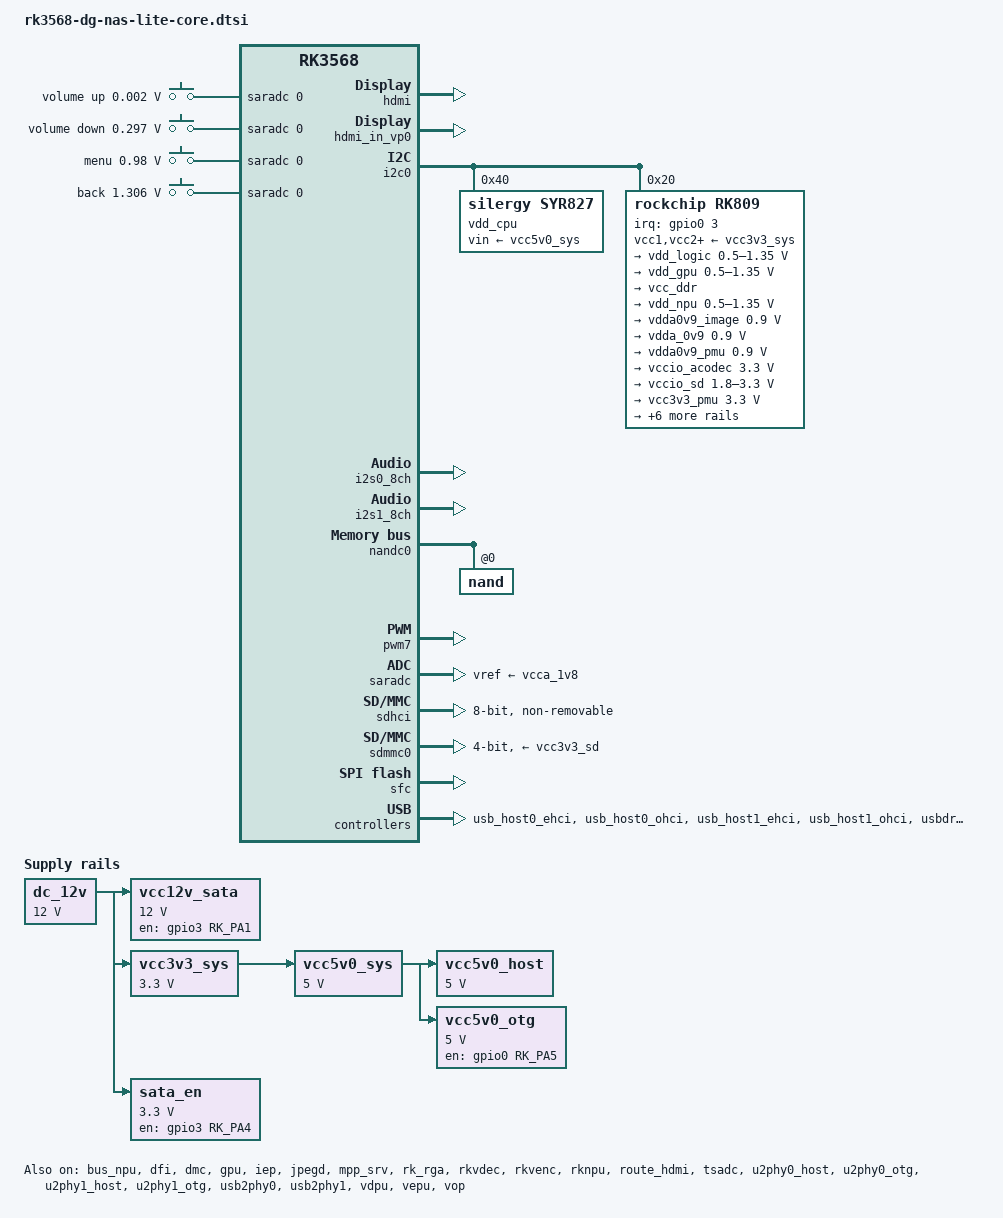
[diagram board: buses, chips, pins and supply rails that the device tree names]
// SPDX-License-Identifier: (GPL-2.0+ OR MIT)
/*
 * Copyright (c) 2020 Rockchip Electronics Co., Ltd.
 *
 */

#include <dt-bindings/gpio/gpio.h>
#include <dt-bindings/pwm/pwm.h>
#include <dt-bindings/pinctrl/rockchip.h>
#include <dt-bindings/input/rk-input.h>
#include <dt-bindings/display/drm_mipi_dsi.h>
#include <dt-bindings/sensor-dev.h>

/ {
	adc_keys: adc-keys {
		compatible = "adc-keys";
		io-channels = <&saradc 0>;
		io-channel-names = "buttons";
		keyup-threshold-microvolt = <1800000>;
		poll-interval = <100>;

		vol-up-key {
			label = "volume up";
			linux,code = <KEY_VOLUMEUP>;
			press-threshold-microvolt = <1750>;
		};

		vol-down-key {
			label = "volume down";
			linux,code = <KEY_VOLUMEDOWN>;
			press-threshold-microvolt = <297500>;
		};

		menu-key {
			label = "menu";
			linux,code = <KEY_MENU>;
			press-threshold-microvolt = <980000>;
		};

		back-key {
			label = "back";
			linux,code = <KEY_BACK>;
			press-threshold-microvolt = <1305500>;
		};
	};

	audiopwmout_diff: audiopwmout-diff {
		status = "disabled";
		compatible = "simple-audio-card";
		simple-audio-card,format = "i2s";
		simple-audio-card,name = "rockchip,audiopwmout-diff";
		simple-audio-card,mclk-fs = <256>;
		simple-audio-card,bitclock-master = <&master>;
		simple-audio-card,frame-master = <&master>;
		simple-audio-card,cpu {
			sound-dai = <&i2s3_2ch>;
		};
		master: simple-audio-card,codec {
			sound-dai = <&dig_acodec>;
		};
	};

	dc_12v: dc-12v {
		compatible = "regulator-fixed";
		regulator-name = "dc_12v";
		regulator-always-on;
		regulator-boot-on;
		regulator-min-microvolt = <12000000>;
		regulator-max-microvolt = <12000000>;
	};

	hdmi_sound: hdmi-sound {
		status = "disabled";
		compatible = "rockchip,hdmi";
		rockchip,mclk-fs = <128>;
		rockchip,card-name = "rockchip,hdmi";
		rockchip,cpu = <&i2s0_8ch>;
		rockchip,codec = <&hdmi>;
	};

	vcc12v_sata: vcc12v-sata {
		compatible = "regulator-fixed";
		regulator-name = "vcc12v_sata";
		regulator-always-on;
		regulator-boot-on;
		regulator-min-microvolt = <12000000>;
		regulator-max-microvolt = <12000000>;
		enable-active-high;
		gpio = <&gpio3 RK_PA1 GPIO_ACTIVE_HIGH>;
		pinctrl-names = "default";
		pinctrl-0 = <&vcc12V_sata_enable_h>;
		vin-supply = <&dc_12v>;
	};	

	pdmics: dummy-codec {
		status = "disabled";
		compatible = "rockchip,dummy-codec";
		#sound-dai-cells = <0>;
	};

	pdm_mic_array: pdm-mic-array {
		status = "disabled";
		compatible = "simple-audio-card";
		simple-audio-card,name = "rockchip,pdm-mic-array";
		simple-audio-card,cpu {
			sound-dai = <&pdm>;
		};
		simple-audio-card,codec {
			sound-dai = <&pdmics>;
		};
	};

	rk809_sound: rk809-sound {
		status = "okay";
		compatible = "simple-audio-card";
		simple-audio-card,format = "i2s";
		simple-audio-card,name = "rockchip,rk809-codec";
		simple-audio-card,mclk-fs = <256>;

		simple-audio-card,cpu {
			sound-dai = <&i2s1_8ch>;
		};
		simple-audio-card,codec {
			sound-dai = <&rk809_codec>;
		};
	};

	spdif-sound {
		status = "disabled";
		compatible = "simple-audio-card";
		simple-audio-card,name = "ROCKCHIP,SPDIF";
		simple-audio-card,cpu {
				sound-dai = <&spdif_8ch>;
		};
		simple-audio-card,codec {
				sound-dai = <&spdif_out>;
		};
	};

	spdif_out: spdif-out {
			status = "disabled";
			compatible = "linux,spdif-dit";
			#sound-dai-cells = <0>;
	};

	vad_sound: vad-sound {
		status = "disabled";
		compatible = "rockchip,multicodecs-card";
		rockchip,card-name = "rockchip,rk3568-vad";
		rockchip,cpu = <&i2s1_8ch>;
		rockchip,codec = <&rk809_codec>, <&vad>;
	};

	vcc3v3_sys: vcc3v3-sys {
		compatible = "regulator-fixed";
		regulator-name = "vcc3v3_sys";
		regulator-always-on;
		regulator-boot-on;
		regulator-min-microvolt = <3300000>;
		regulator-max-microvolt = <3300000>;
		vin-supply = <&dc_12v>;
	};
	
	sata_en: sata_en {
		compatible = "regulator-fixed";
		regulator-name = "sata_en";
		regulator-always-on;
		regulator-boot-on;
		regulator-min-microvolt = <3300000>;
		regulator-max-microvolt = <3300000>;
		enable-active-high;
		gpio = <&gpio3 RK_PA4 GPIO_ACTIVE_HIGH>;
		pinctrl-names = "default";
		pinctrl-0 = <&asm1064_rst>;
		vin-supply = <&dc_12v>;
	};

	vcc5v0_sys: vcc5v0-sys {
		compatible = "regulator-fixed";
		regulator-name = "vcc5v0_sys";
		regulator-always-on;
		regulator-boot-on;
		regulator-min-microvolt = <5000000>;
		regulator-max-microvolt = <5000000>;
		vin-supply = <&vcc3v3_sys>;
	};
/*
	vcc5v0_usb: vcc5v0-usb {
		compatible = "regulator-fixed";
		regulator-name = "vcc5v0_usb";
		regulator-always-on;
		regulator-boot-on;
		regulator-min-microvolt = <5000000>;
		regulator-max-microvolt = <5000000>;
		vin-supply = <&dc_12v>;
	};
*/
	vcc5v0_host: vcc5v0-host-regulator {
		compatible = "regulator-fixed";
		regulator-name = "vcc5v0_host";
		regulator-boot-on;
		regulator-always-on;
		regulator-min-microvolt = <5000000>;
		regulator-max-microvolt = <5000000>;
//		enable-active-high;
//		gpio = <&gpio0 RK_PD4 GPIO_ACTIVE_HIGH>;
		vin-supply = <&vcc5v0_sys>;
//		pinctrl-names = "default";
//		pinctrl-0 = <&vcc5v0_host_en>;
	};

	vcc5v0_otg: vcc5v0-otg-regulator {
		compatible = "regulator-fixed";
		regulator-name = "vcc5v0_otg";
		regulator-boot-on;
		regulator-always-on;
		regulator-min-microvolt = <5000000>;
		regulator-max-microvolt = <5000000>;
		enable-active-high;
		gpio = <&gpio0 RK_PA5 GPIO_ACTIVE_HIGH>;
		vin-supply = <&vcc5v0_sys>;
		pinctrl-names = "default";
		pinctrl-0 = <&vcc5v0_otg_en>;
	};

	test-power {
		status = "okay";
	};
};

&bus_npu {
	bus-supply = <&vdd_logic>;
	pvtm-supply = <&vdd_cpu>;
	status = "okay";
};

&can0 {
	assigned-clocks = <&cru CLK_CAN0>;
	assigned-clock-rates = <150000000>;
	pinctrl-names = "default";
	pinctrl-0 = <&can0m1_pins>;
	status = "disabled";
};

&can1 {
	assigned-clocks = <&cru CLK_CAN1>;
	assigned-clock-rates = <150000000>;
	pinctrl-names = "default";
	pinctrl-0 = <&can1m1_pins>;
	status = "disabled";
};

&can2 {
	assigned-clocks = <&cru CLK_CAN2>;
	assigned-clock-rates = <150000000>;
	pinctrl-names = "default";
	pinctrl-0 = <&can2m1_pins>;
	status = "disabled";
};

&cpu0 {
	cpu-supply = <&vdd_cpu>;
};

&cpu1 {
	cpu-supply = <&vdd_cpu>;
};

&cpu2 {
	cpu-supply = <&vdd_cpu>;
};

&cpu3 {
	cpu-supply = <&vdd_cpu>;
};

&dfi {
	status = "okay";
};

&dmc {
	center-supply = <&vdd_logic>;
	status = "okay";

	system-status-level = <
		/*system status         freq level*/
		SYS_STATUS_NORMAL      DMC_FREQ_LEVEL_MID_HIGH 
	>;
	
	auto-freq-en = <0>;

};

&gpu {
	mali-supply = <&vdd_gpu>;
	status = "okay";
};

&hdmi {
	status = "okay";
	avdd-0v9-supply = <&vdda0v9_image>;
	avdd-1v8-supply = <&vcca1v8_image>;	
	rockchip,phy-table =
		<92812500  0x8009 0x0000 0x0270>,
		<165000000 0x800b 0x0000 0x026d>,
		<185625000 0x800b 0x0000 0x01ed>,
		<297000000 0x800b 0x0000 0x01ad>,
		<594000000 0x8029 0x0000 0x0088>,
		<000000000 0x0000 0x0000 0x0000>;
};

&hdmi_in_vp0 {
	status = "okay";
};

&hdmi_in_vp1 {
	status = "disabled";
};

&hdmi_sound {
	status = "okay";
};

&i2c0 {
	status = "okay";


	vdd_cpu: syr827@40 {
		compatible = "silergy,syr827";
		reg = <0x40>;
		vin-supply = <&vcc5v0_sys>;
		regulator-compatible = "fan53555-reg";
		pinctrl-names = "default";
		//pinctrl-0 = <&vsel1_gpios>;
		//vsel-gpios = <&gpio0 RK_PA2 GPIO_ACTIVE_HIGH>;
		regulator-name = "vdd_cpu";
		regulator-min-microvolt = <712500>;
		regulator-max-microvolt = <1390000>;
		regulator-init-microvolt = <900000>;
		regulator-ramp-delay = <2300>;
		fcs,suspend-voltage-selector = <1>;
		regulator-always-on;
		regulator-boot-on;
		regulator-initial-state = <3>;
			regulator-state-mem {
			regulator-off-in-suspend;
		};
	};


	rk809: pmic@20 {
		compatible = "rockchip,rk809";
		reg = <0x20>;
		interrupt-parent = <&gpio0>;
		interrupts = <3 IRQ_TYPE_LEVEL_LOW>;

		pinctrl-names = "default", "pmic-sleep",
				"pmic-power-off", "pmic-reset";
		pinctrl-0 = <&pmic_int>;
		pinctrl-1 = <&soc_slppin_slp>, <&rk817_slppin_slp>;
		pinctrl-2 = <&soc_slppin_gpio>, <&rk817_slppin_pwrdn>;
		pinctrl-3 = <&soc_slppin_gpio>, <&rk817_slppin_rst>;

		rockchip,system-power-controller;
		wakeup-source;
		#clock-cells = <1>;
		clock-output-names = "rk808-clkout1", "rk808-clkout2";
		//fb-inner-reg-idxs = <2>;
		/* 1: rst regs (default in codes), 0: rst the pmic */
		pmic-reset-func = <0>;
		/* not save the PMIC_POWER_EN register in uboot */
		not-save-power-en = <1>;

		vcc1-supply = <&vcc3v3_sys>;
		vcc2-supply = <&vcc3v3_sys>;
		vcc3-supply = <&vcc3v3_sys>;
		vcc4-supply = <&vcc3v3_sys>;
		vcc5-supply = <&vcc3v3_sys>;
		vcc6-supply = <&vcc3v3_sys>;
		vcc7-supply = <&vcc3v3_sys>;
		vcc8-supply = <&vcc3v3_sys>;
		vcc9-supply = <&vcc3v3_sys>;

		pwrkey {
			status = "okay";
		};

		pinctrl_rk8xx: pinctrl_rk8xx {
			gpio-controller;
			#gpio-cells = <2>;

			rk817_slppin_null: rk817_slppin_null {
				pins = "gpio_slp";
				function = "pin_fun0";
			};

			rk817_slppin_slp: rk817_slppin_slp {
				pins = "gpio_slp";
				function = "pin_fun1";
			};

			rk817_slppin_pwrdn: rk817_slppin_pwrdn {
				pins = "gpio_slp";
				function = "pin_fun2";
			};

			rk817_slppin_rst: rk817_slppin_rst {
				pins = "gpio_slp";
				function = "pin_fun3";
			};
		};

		regulators {
			vdd_logic: DCDC_REG1 {
				regulator-always-on;
				regulator-boot-on;
				regulator-min-microvolt = <500000>;
				regulator-max-microvolt = <1350000>;
				regulator-init-microvolt = <900000>;
				regulator-ramp-delay = <6001>;
				regulator-initial-mode = <0x2>;
				regulator-name = "vdd_logic";
				regulator-state-mem {
					regulator-off-in-suspend;
				};
			};

			vdd_gpu: DCDC_REG2 {
				regulator-always-on;
				regulator-boot-on;
				regulator-min-microvolt = <500000>;
				regulator-max-microvolt = <1350000>;
				regulator-init-microvolt = <900000>;
				regulator-ramp-delay = <6001>;
				regulator-initial-mode = <0x2>;
				regulator-name = "vdd_gpu";
				regulator-state-mem {
					regulator-off-in-suspend;
				};
			};

			vcc_ddr: DCDC_REG3 {
				regulator-always-on;
				regulator-boot-on;
				regulator-initial-mode = <0x2>;
				regulator-name = "vcc_ddr";
				regulator-state-mem {
					regulator-on-in-suspend;
				};
			};

			vdd_npu: DCDC_REG4 {
				regulator-always-on;
				regulator-boot-on;
				regulator-min-microvolt = <500000>;
				regulator-max-microvolt = <1350000>;
				regulator-init-microvolt = <900000>;
				regulator-ramp-delay = <6001>;
				regulator-initial-mode = <0x2>;
				regulator-name = "vdd_npu";
				regulator-state-mem {
					regulator-off-in-suspend;
				};
			};

			vdda0v9_image: LDO_REG1 {
				regulator-boot-on;
				regulator-always-on;
				regulator-min-microvolt = <900000>;
				regulator-max-microvolt = <900000>;
				regulator-name = "vdda0v9_image";
				regulator-state-mem {
					regulator-off-in-suspend;
				};
			};

			vdda_0v9: LDO_REG2 {
				regulator-always-on;
				regulator-boot-on;
				regulator-min-microvolt = <900000>;
				regulator-max-microvolt = <900000>;
				regulator-name = "vdda_0v9";
				regulator-state-mem {
					regulator-off-in-suspend;
				};
			};

			vdda0v9_pmu: LDO_REG3 {
				regulator-always-on;
				regulator-boot-on;
				regulator-min-microvolt = <900000>;
				regulator-max-microvolt = <900000>;
				regulator-name = "vdda0v9_pmu";
				regulator-state-mem {
					regulator-on-in-suspend;
					regulator-suspend-microvolt = <900000>;
				};
			};

			vccio_acodec: LDO_REG4 {
				regulator-always-on;
				regulator-boot-on;
				regulator-min-microvolt = <3300000>;
				regulator-max-microvolt = <3300000>;
				regulator-name = "vccio_acodec";
				regulator-state-mem {
					regulator-off-in-suspend;
				};
			};

			vccio_sd: LDO_REG5 {
				regulator-always-on;
				regulator-boot-on;
				regulator-min-microvolt = <1800000>;
				regulator-max-microvolt = <3300000>;
				regulator-name = "vccio_sd";
				regulator-state-mem {
					regulator-off-in-suspend;
				};
			};

			vcc3v3_pmu: LDO_REG6 {
				regulator-always-on;
				regulator-boot-on;
				regulator-min-microvolt = <3300000>;
				regulator-max-microvolt = <3300000>;
				regulator-name = "vcc3v3_pmu";
				regulator-state-mem {
					regulator-on-in-suspend;
					regulator-suspend-microvolt = <3300000>;
				};
			};

			vcca_1v8: LDO_REG7 {
				regulator-always-on;
				regulator-boot-on;
				regulator-min-microvolt = <1800000>;
				regulator-max-microvolt = <1800000>;
				regulator-name = "vcca_1v8";
				regulator-state-mem {
					regulator-off-in-suspend;
				};
			};

			vcca1v8_pmu: LDO_REG8 {
				regulator-always-on;
				regulator-boot-on;
				regulator-min-microvolt = <1800000>;
				regulator-max-microvolt = <1800000>;
				regulator-name = "vcca1v8_pmu";
				regulator-state-mem {
					regulator-on-in-suspend;
					regulator-suspend-microvolt = <1800000>;
				};
			};

			vcca1v8_image: LDO_REG9 {
				regulator-always-on;
				regulator-boot-on;
				regulator-min-microvolt = <1800000>;
				regulator-max-microvolt = <1800000>;
				regulator-name = "vcca1v8_image";
				regulator-state-mem {
					regulator-off-in-suspend;
				};
			};

			vcc_1v8: DCDC_REG5 {
				regulator-always-on;
				regulator-boot-on;
				regulator-min-microvolt = <1800000>;
				regulator-max-microvolt = <1800000>;
				regulator-name = "vcc_1v8";
				regulator-state-mem {
					regulator-off-in-suspend;
				};
			};

			vcc_3v3: SWITCH_REG1 {
				regulator-always-on;
				regulator-boot-on;
				regulator-name = "vcc_3v3";
				regulator-state-mem {
					regulator-off-in-suspend;
				};
			};

			vcc3v3_sd: SWITCH_REG2 {
				regulator-always-on;
				regulator-boot-on;
				regulator-name = "vcc3v3_sd";
				regulator-state-mem {
					regulator-off-in-suspend;
				};
			};
		};

		rk809_codec: codec {
			#sound-dai-cells = <0>;
			compatible = "rockchip,rk809-codec", "rockchip,rk817-codec";
			clocks = <&cru I2S1_MCLKOUT>;
			clock-names = "mclk";
			assigned-clocks = <&cru I2S1_MCLKOUT>, <&cru I2S1_MCLK_TX_IOE>;
			assigned-clock-rates = <12288000>;
			assigned-clock-parents = <&cru I2S1_MCLKOUT_TX>, <&cru I2S1_MCLKOUT_TX>;
			pinctrl-names = "default";
			pinctrl-0 = <&i2s1m0_mclk>;
			hp-volume = <20>;
			spk-volume = <3>;
			mic-in-differential;
			status = "okay";
		};
	};
};

&i2s0_8ch {
	status = "okay";
};

&i2s1_8ch {
	status = "okay";
	rockchip,clk-trcm = <1>;
	pinctrl-names = "default";
	pinctrl-0 = <&i2s1m0_sclktx
		     &i2s1m0_lrcktx
		     &i2s1m0_sdi0
		     &i2s1m0_sdo0>;
};

&iep {
	status = "okay";
};

&iep_mmu {
	status = "okay";
};

&jpegd {
	status = "okay";
};

&jpegd_mmu {
	status = "okay";
};

&mpp_srv {
	status = "okay";
};

&nandc0 {
	#address-cells = <1>;
	#size-cells = <0>;
	status = "okay";

	nand@0 {
		reg = <0>;
		nand-bus-width = <8>;
		nand-ecc-mode = "hw";
		nand-ecc-strength = <16>;
		nand-ecc-step-size = <1024>;
	};
};

&pinctrl {
	pmic {
		pmic_int: pmic_int {
			rockchip,pins =
				<0 RK_PA3 RK_FUNC_GPIO &pcfg_pull_up>;
		};

		soc_slppin_gpio: soc_slppin_gpio {
			rockchip,pins =
				<0 RK_PA2 RK_FUNC_GPIO &pcfg_output_low_pull_down>;
		};

		soc_slppin_slp: soc_slppin_slp {
			rockchip,pins =
				<0 RK_PA2 1 &pcfg_pull_up>;
		};

		soc_slppin_rst: soc_slppin_rst {
			rockchip,pins =
				<0 RK_PA2 2 &pcfg_pull_none>;
		};
	};

	usb {
		vcc5v0_otg_en: vcc5v0-otg-en {
			rockchip,pins = <0 RK_PA5 RK_FUNC_GPIO &pcfg_pull_none>;
		};
	};
	
	sata {
		vcc12V_sata_enable_h: vcc12V_sata_enable_h {
			rockchip,pins = <3 RK_PA1 RK_FUNC_GPIO &pcfg_pull_none>;
		};
		asm1064_rst: asm1064_rst {
			rockchip,pins = <3 RK_PA4 RK_FUNC_GPIO &pcfg_pull_none>;
		};
	};	
	

};

 /*
  * There are 10 independent IO domains in RK3566/RK3568, including PMUIO[0:2] and VCCIO[1:7].
  * 1/ PMUIO0 and PMUIO1 are fixed-level power domains which cannot be configured;
  * 2/ PMUIO2 and VCCIO1,VCCIO[3:7] domains require that their hardware power supply voltages
  *    must be consistent with the software configuration correspondingly
  *	a/ When the hardware IO level is connected to 1.8V, the software voltage configuration
  *	   should also be configured to 1.8V accordingly;
  *	b/ When the hardware IO level is connected to 3.3V, the software voltage configuration
  *	   should also be configured to 3.3V accordingly;
  * 3/ VCCIO2 voltage control selection (0xFDC20140)
  *	BIT[0]: 0x0: from GPIO_0A7 (default)
  *	BIT[0]: 0x1: from GRF
  *    Default is determined by Pin FLASH_VOL_SEL/GPIO0_A7:
  *	L:VCCIO2 must supply 3.3V
  *	H:VCCIO2 must supply 1.8V
  */
/*
&pmu_io_domains {
	status = "okay";
	pmuio2-supply = <&vcc3v3_pmu>;
	vccio1-supply = <&vccio_acodec>;
	vccio3-supply = <&vccio_sd>;
	vccio4-supply = <&vcc_1v8>;
	vccio5-supply = <&vcc_3v3>;
	vccio6-supply = <&vcc_1v8>;
	vccio7-supply = <&vcc_3v3>;
};
*/

&pmu_io_domains {
	pmuio1-supply = <&vcc3v3_pmu>;
	pmuio2-supply = <&vcc3v3_pmu>;
	vccio1-supply = <&vccio_acodec>;
	vccio2-supply = <&vcc_1v8>;
	vccio3-supply = <&vccio_sd>;
	vccio4-supply = <&vcc_1v8>;
	vccio5-supply = <&vcc_3v3>;
	vccio6-supply = <&vcc_1v8>;
	vccio7-supply = <&vcc_3v3>;
	status = "okay";
};

&pwm7 {
	status = "okay";

	compatible = "rockchip,remotectl-pwm";
	remote_pwm_id = <3>;
	handle_cpu_id = <1>;
	remote_support_psci = <0>;
	pinctrl-names = "default";
	pinctrl-0 = <&pwm7_pins>;

	ir_key1 {
		rockchip,usercode = <0x4040>;
		rockchip,key_table =
			<0xf2	KEY_REPLY>,
			<0xba	KEY_BACK>,
			<0xf4	KEY_UP>,
			<0xf1	KEY_DOWN>,
			<0xef	KEY_LEFT>,
			<0xee	KEY_RIGHT>,
			<0xbd	KEY_HOME>,
			<0xea	KEY_VOLUMEUP>,
			<0xe3	KEY_VOLUMEDOWN>,
			<0xe2	KEY_SEARCH>,
			<0xb2	KEY_POWER>,
			<0xbc	KEY_MUTE>,
			<0xec	KEY_MENU>,
			<0xbf	0x190>,
			<0xe0	0x191>,
			<0xe1	0x192>,
			<0xe9	183>,
			<0xe6	248>,
			<0xe8	185>,
			<0xe7	186>,
			<0xf0	388>,
			<0xbe	0x175>;
	};

	ir_key2 {
		rockchip,usercode = <0xff00>;
		rockchip,key_table =
			<0xf9	KEY_HOME>,
			<0xbf	KEY_BACK>,
			<0xfb	KEY_MENU>,
			<0xaa	KEY_REPLY>,
			<0xb9	KEY_UP>,
			<0xe9	KEY_DOWN>,
			<0xb8	KEY_LEFT>,
			<0xea	KEY_RIGHT>,
			<0xeb	KEY_VOLUMEDOWN>,
			<0xef	KEY_VOLUMEUP>,
			<0xf7	KEY_MUTE>,
			<0xe7	KEY_POWER>,
			<0xfc	KEY_POWER>,
			<0xa9	KEY_VOLUMEDOWN>,
			<0xa8	KEY_VOLUMEDOWN>,
			<0xe0	KEY_VOLUMEDOWN>,
			<0xa5	KEY_VOLUMEDOWN>,
			<0xab	183>,
			<0xb7	388>,
			<0xe8	388>,
			<0xf8	184>,
			<0xaf	185>,
			<0xed	KEY_VOLUMEDOWN>,
			<0xee	186>,
			<0xb3	KEY_VOLUMEDOWN>,
			<0xf1	KEY_VOLUMEDOWN>,
			<0xf2	KEY_VOLUMEDOWN>,
			<0xf3	KEY_SEARCH>,
			<0xb4	KEY_VOLUMEDOWN>,
			<0xbe	KEY_SEARCH>;
	};

	ir_key3 {
		rockchip,usercode = <0x1dcc>;
		rockchip,key_table =
			<0xee	KEY_REPLY>,
			<0xf0	KEY_BACK>,
			<0xf8	KEY_UP>,
			<0xbb	KEY_DOWN>,
			<0xef	KEY_LEFT>,
			<0xed	KEY_RIGHT>,
			<0xfc	KEY_HOME>,
			<0xf1	KEY_VOLUMEUP>,
			<0xfd	KEY_VOLUMEDOWN>,
			<0xb7	KEY_SEARCH>,
			<0xff	KEY_POWER>,
			<0xf3	KEY_MUTE>,
			<0xbf	KEY_MENU>,
			<0xf9	0x191>,
			<0xf5	0x192>,
			<0xb3	388>,
			<0xbe	KEY_1>,
			<0xba	KEY_2>,
			<0xb2	KEY_3>,
			<0xbd	KEY_4>,
			<0xf9	KEY_5>,
			<0xb1	KEY_6>,
			<0xfc	KEY_7>,
			<0xf8	KEY_8>,
			<0xb0	KEY_9>,
			<0xb6	KEY_0>,
			<0xb5	KEY_BACKSPACE>;
	};
};

&rk_rga {
	status = "okay";
};

&rkvdec {
	status = "okay";
};

&rkvdec_mmu {
	status = "okay";
};

&rkvenc {
	venc-supply = <&vdd_logic>;
	status = "okay";
};

&rkvenc_mmu {
	status = "okay";
};

&rknpu {
	rknpu-supply = <&vdd_npu>;
	status = "okay";
};

&rknpu_mmu {
	status = "okay";
};

&route_hdmi {
	status = "okay";
	connect = <&vp0_out_hdmi>;
};

&saradc {
	status = "okay";
	vref-supply = <&vcca_1v8>;
};

&sdhci {
	bus-width = <8>;
	supports-emmc;
	non-removable;
	max-frequency = <200000000>;
	status = "okay";
};

&sdmmc0 {
	max-frequency = <150000000>;
	supports-sd;
	bus-width = <4>;
	cap-mmc-highspeed;
	cap-sd-highspeed;
	disable-wp;
	sd-uhs-sdr104;
	vmmc-supply = <&vcc3v3_sd>;
	vqmmc-supply = <&vccio_sd>;
	pinctrl-names = "default";
	pinctrl-0 = <&sdmmc0_bus4 &sdmmc0_clk &sdmmc0_cmd &sdmmc0_det>;
	status = "okay";
};

&sfc {
	status = "okay";
};

&spdif_8ch {
	status = "disabled";
};

&tsadc {
	status = "okay";
};

&u2phy0_host {
	status = "okay";
};

&u2phy0_otg {
	status = "okay";
};

&u2phy1_host {
	status = "okay";
};

&u2phy1_otg {
	status = "okay";
};

&usb2phy0 {
	status = "okay";
};

&usb2phy1 {
	status = "okay";
};

&usb_host0_ehci {
	status = "okay";
};

&usb_host0_ohci {
	status = "okay";
};

&usb_host1_ehci {
	status = "okay";
};

&usb_host1_ohci {
	status = "okay";
};

&usbdrd_dwc3 {
//	dr_mode = "host";
	extcon = <&usb2phy0>;
	status = "disabled";
};

&usbdrd30 {
	status = "okay";
};

&usbhost_dwc3 {
	status = "okay";
};

&usbhost30 {
	status = "okay";
};

&vad {
	rockchip,audio-src = <&i2s1_8ch>;
	rockchip,buffer-time-ms = <128>;
	rockchip,det-channel = <0>;
	rockchip,mode = <0>;
};

&vdpu {
	status = "okay";
};

&vdpu_mmu {
	status = "okay";
};

&vepu {
	status = "okay";
};

&vepu_mmu {
	status = "okay";
};

&vop {
	status = "okay";
	assigned-clocks = <&cru DCLK_VOP0>, <&cru DCLK_VOP1>;
	assigned-clock-parents = <&pmucru PLL_HPLL>, <&cru PLL_VPLL>;
};

&vop_mmu {
	status = "okay";
};
